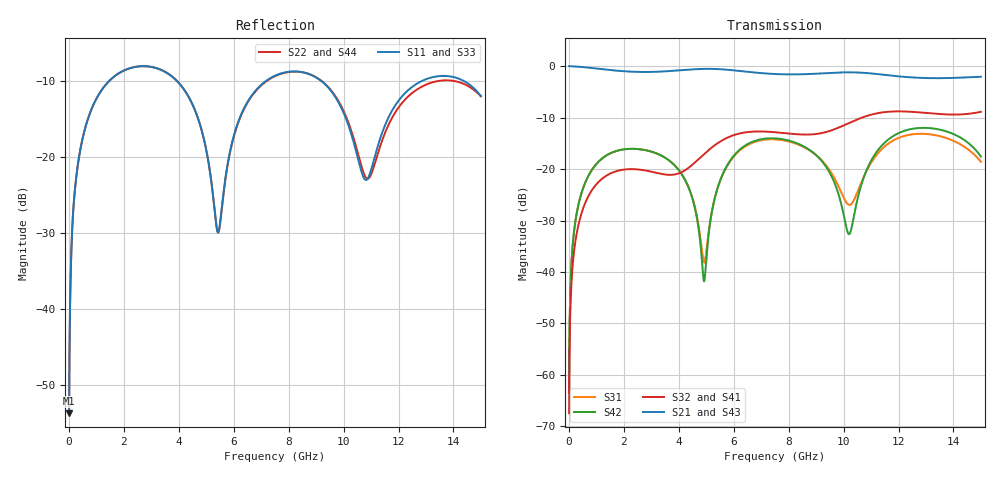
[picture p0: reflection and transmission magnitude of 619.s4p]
! Created with skrf 1.8.0 (http://scikit-rf.org).
# GHz S RI R 50.0
!freq ReS11 ImS11 ReS12 ImS12 ReS13 ImS13
! ReS14 ImS14
! ReS21 ImS21 ReS22 ImS22 ReS23 ImS23
! ReS24 ImS24
! ReS31 ImS31 ReS32 ImS32 ReS33 ImS33
! ReS34 ImS34
! ReS41 ImS41 ReS42 ImS42 ReS43 ImS43
! ReS44 ImS44
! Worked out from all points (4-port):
!   2499 points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, 5 MHz to 15 GHz, reference 50 ohm
!   strongest paths, dB at 5 MHz, 3.476 GHz, 7.19 GHz, 11.1 GHz, 15 GHz:
!     S21: 0.0, -1.0, -1.4, -1.5, -2.1
!     S43: 0.0, -1.0, -1.4, -1.5, -2.1
!     S32: -67.5, -21.0, -12.7, -9.3, -8.9
!     S41: -67.5, -21.1, -12.7, -9.3, -8.9
!     S42: -63.5, -17.7, -14.1, -17.5, -17.6
!     S31: -63.5, -17.7, -14.3, -18.0, -18.6
!   lowest |S11| = -53.7 dB at 5 MHz (marker M1), VSWR 1.00, Z = 50.2 + j0.126 ohm
!   |S11| at or under -10 dB: start of sweep to 1.482 GHz; 3.917 GHz to 7.197 GHz (3.28 GHz wide, 59 % of centre); 9.166 GHz to 12.89 GHz (3.722 GHz wide, 33.8 % of centre) (the widest 3 of 4)
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0.005  0.00165 0.00125  0.9983 -0.00322  8.34e-05 0.000666  -8.09e-05 -0.000416
       0.9983 -0.00322  0.00165 0.00125  -8.09e-05 -0.000416  8.34e-05 0.000666
       8.34e-05 0.000666  -8.09e-05 -0.000416  0.00165 0.00125  0.9983 -0.00322
       -8.09e-05 -0.000416  8.34e-05 0.000666  0.9983 -0.00322  0.00165 0.00125
0.3126303  0.0244 0.0824  0.9667 -0.2  0.0113 0.0395  -0.00942 -0.0244
           0.9667 -0.2  0.0244 0.0824  -0.00942 -0.0244  0.0114 0.0395
           0.0113 0.0395  -0.00942 -0.0244  0.0244 0.0824  0.9667 -0.2
           -0.00942 -0.0244  0.0114 0.0395  0.9667 -0.2  0.0244 0.0824
1.519383  0.266 0.1797  0.5583 -0.7242  0.1276 0.0637  -0.0904 -0.00776
          0.5583 -0.7242  0.2658 0.1798  -0.0905 -0.0077  0.1279 0.0633
          0.1276 0.0637  -0.0905 -0.0077  0.266 0.1797  0.5582 -0.7242
          -0.0904 -0.00776  0.1279 0.0633  0.5582 -0.7242  0.2659 0.1798
4.9208  0.0632 -0.1119  -0.8718 -0.3494  -0.012 -0.00268  -0.0486 0.1312
        -0.8718 -0.3494  0.0637 -0.1124  -0.0477 0.1315  -0.00801 -0.00123
        -0.012 -0.00268  -0.0477 0.1315  0.0645 -0.1131  -0.8715 -0.3496
        -0.0486 0.1312  -0.00801 -0.00123  -0.8715 -0.3496  0.0637 -0.1141
8.47228  0.3564 -0.0475  0.0203 0.8324  0.1434 -0.0865  0.2045 -0.0699
         0.0203 0.8324  0.3559 -0.0435  0.2042 -0.072  0.1456 -0.0876
         0.1434 -0.0865  0.2042 -0.072  0.3558 -0.0491  0.0217 0.8324
         0.2045 -0.0699  0.1456 -0.0876  0.0217 0.8324  0.3561 -0.0433
11.1609  0.0886 0.054  0.8405 -0.00992  0.0205 0.1311  -0.0218 -0.3443
         0.8405 -0.00992  0.0841 0.0399  -0.0256 -0.3444  0.0561 0.1297
         0.0205 0.1311  -0.0256 -0.3444  0.0875 0.0517  0.8405 -0.0126
         -0.0218 -0.3443  0.0561 0.1297  0.8405 -0.0126  0.0856 0.0386
15  0.2006 -0.1491  -0.3793 -0.6906  0.0219 -0.1158  -0.296 0.2021
    -0.3793 -0.6906  0.2208 -0.115  -0.2921 0.2099  0.0423 -0.1254
    0.0219 -0.1158  -0.2921 0.2099  0.201 -0.1428  -0.3863 -0.6871
    -0.296 0.2021  0.0423 -0.1254  -0.3863 -0.6871  0.2147 -0.1232
